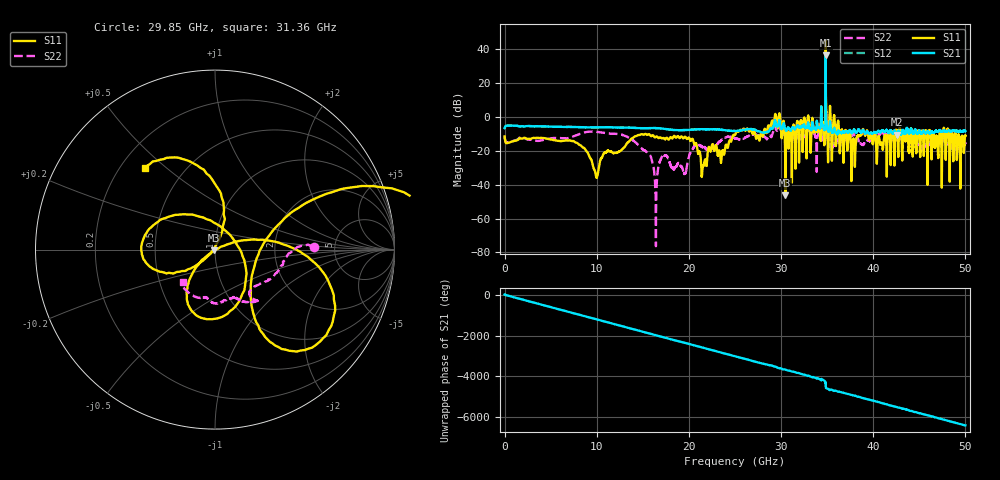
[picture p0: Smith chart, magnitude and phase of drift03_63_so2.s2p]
!Created with skrf (http://scikit-rf.org).
# Hz S RI R 50.0
!freq ReS11 ImS11 ReS21 ImS21 ReS12 ImS12 ReS22 ImS22
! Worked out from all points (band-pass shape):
!   10001 points, 300 kHz to 50 GHz, reference 50 ohm
!   highest |S21| = 36.43 dB at 34.85 GHz (marker M1); lowest = -10.4 dB at 42.55 GHz (marker M2)
!   |S21| within 3 dB of the highest: 34.8442 GHz to 34.8457 GHz (1.502 MHz wide, 0.00431 % of centre)
!   lowest |S11| = -46.2 dB at 30.47 GHz (marker M3), VSWR 1.01, Z = 49.6 - j0.307 ohm
!   |S11| at or under -10 dB: start of sweep to 15.23 GHz; 15.32 GHz to 25.05 GHz (9.737 GHz wide, 48.2 % of centre); 40.22 GHz to 41.61 GHz (1.39 GHz wide, 3.4 % of centre) (the widest 3 of 50)
!   |S22| runs from -76.3 to 27.4 dB; largest |S21 - S12| = 9.4
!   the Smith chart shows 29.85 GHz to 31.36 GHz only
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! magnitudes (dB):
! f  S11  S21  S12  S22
! 300 kHz  -11.4  -6.5  -6.5  -11.4
! 8.335 GHz  -17.1  -6.0  -6.0  -9.6
! 9.955 GHz  -35.6  -6.1  -6.1  -8.7
! 13.79 GHz  -12.6  -6.3  -6.3  -13.2
! 15.75 GHz  -10.4  -6.5  -6.5  -22.3
! 16.37 GHz  -11.9  -6.5  -6.5  -43.8
! 16.67 GHz  -12.4  -6.5  -6.5  -29.9
! 17.34 GHz  -12.7  -6.9  -6.9  -22.9
! 19.55 GHz  -11.7  -7.7  -7.7  -33.3
! 20.21 GHz  -13.8  -7.5  -7.5  -20.4
! 21.55 GHz  -28.7  -7.2  -7.2  -17.7
! 25 GHz  -10.6  -8.3  -8.2  -12.5
! 29.6 GHz  -5.6  -5.7  -5.9  -7.9
! 30.47 GHz  -46.2  -7.2  -7.2  -9.1
! 33.34 GHz  -3.9  -6.8  -6.7  -9.3
! 34.85 GHz  45.3  36.4  36.2  27.4
! 35.61 GHz  -8.2  -9.4  -9.2  -16.5
! 37.83 GHz  -12.8  -8.2  -8.2  -9.6
! 38.81 GHz  -8.6  -8.2  -8.2  -16.3
! 41.67 GHz  -9.1  -9.4  -9.4  -11.6
! 42.55 GHz  -8.4  -10.4  -10.4  -13.4
! 50 GHz  -10.8  -8.2  -8.2  -15.5
